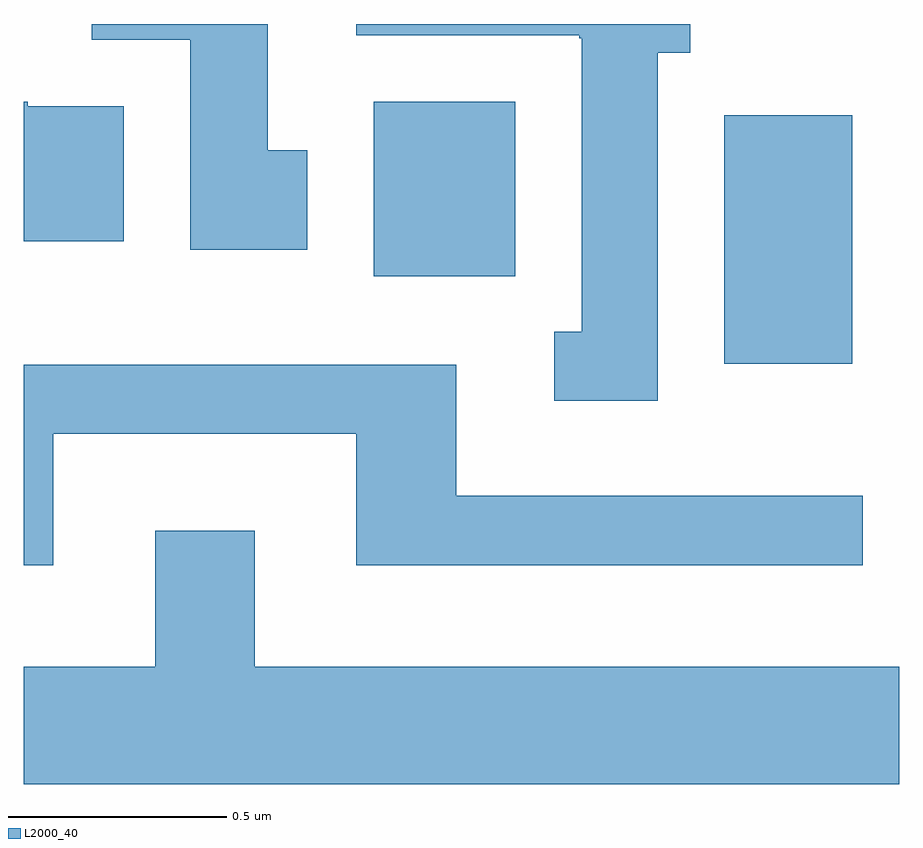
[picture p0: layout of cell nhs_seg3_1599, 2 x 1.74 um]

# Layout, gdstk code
import gdstk
lib = gdstk.Library(unit=1e-6, precision=1e-09)
def R(c, l, rs):  # rectangles x0, y0, x1, y1
    for r in rs: c.add(gdstk.rectangle(r[:2], r[2:], *l))
def P(c, l, *ps):  # polygons
    for p in ps: c.add(gdstk.Polygon(p, *l))
L2000_40 = (2000, 40)

nhs_seg3_1599 = lib.new_cell('nhs_seg3_1599')
R(nhs_seg3_1599, L2000_40, [(198.211,1209.116,198.504,1209.684), (197.411,1209.316,197.734,1209.714)])
P(nhs_seg3_1599, L2000_40, [(198.059,1209.826),(198.134,1209.826),(198.134,1209.892),(197.371,1209.892),(197.371,1209.866),(197.88,1209.866),(197.88,1209.86),(197.886,1209.86),(197.886,1209.189),(197.823,1209.189),(197.823,1209.031),(198.059,1209.031)],
  [(197.259,1209.604),(197.169,1209.604),(197.169,1209.892),(196.766,1209.892),(196.766,1209.856),(196.991,1209.856),(196.991,1209.376),(197.259,1209.376)],
  [(196.839,1209.704),(196.62,1209.704),(196.62,1209.714),(196.611,1209.714),(196.611,1209.396),(196.839,1209.396)],
  [(196.679,1208.956),(197.371,1208.956),(197.371,1208.656),(198.528,1208.656),(198.528,1208.814),(197.599,1208.814),(197.599,1209.114),(196.611,1209.114),(196.611,1208.656),(196.679,1208.656)],
  [(198.611,1208.424),(197.139,1208.424),(197.139,1208.734),(196.911,1208.734),(196.911,1208.424),(196.611,1208.424),(196.611,1208.156),(198.611,1208.156)])

lib.write_gds('nhs_seg3_1599.gds')
